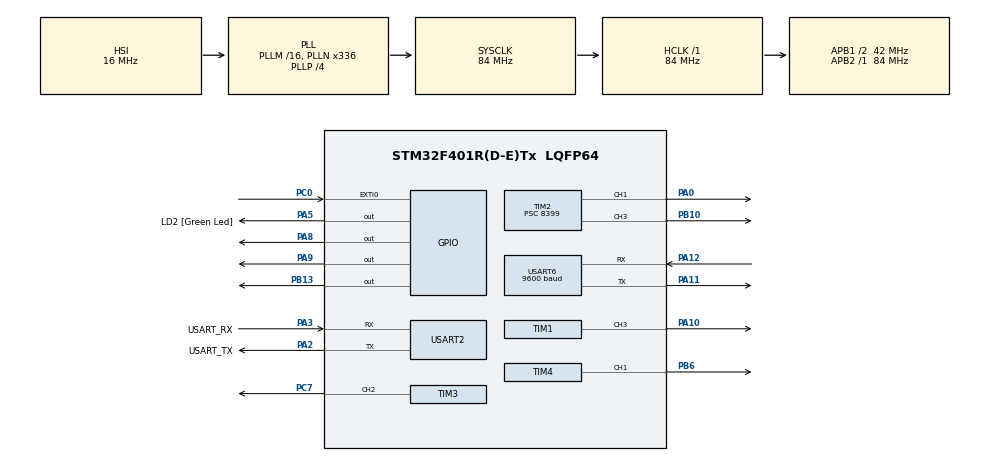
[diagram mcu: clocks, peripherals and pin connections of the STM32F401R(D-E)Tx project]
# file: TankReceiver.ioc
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Mcu.Family=STM32F4
Mcu.Name=STM32F401R(D-E)Tx
Mcu.Package=LQFP64
NVIC.EXTI0_IRQn=true\:0\:0\:false\:false\:true\:true\:true\:true
NVIC.PriorityGroup=NVIC_PRIORITYGROUP_0
NVIC.USART6_IRQn=true\:0\:0\:false\:false\:true\:true\:true\:true
PA0-WKUP.Signal=S_TIM2_CH1_ETR
PA10.Signal=S_TIM1_CH3
PA11.Mode=Asynchronous
PA11.Signal=USART6_TX
PA12.Mode=Asynchronous
PA12.Signal=USART6_RX
PA13.GPIO_Label=TMS
PA13.Mode=Serial_Wire
PA13.Signal=SYS_JTMS-SWDIO
PA14.GPIO_Label=TCK
PA14.Mode=Serial_Wire
PA14.Signal=SYS_JTCK-SWCLK
PA2.GPIO_Label=USART_TX
PA2.GPIO_Mode=GPIO_MODE_AF_PP
PA2.GPIO_PuPd=GPIO_NOPULL
PA2.GPIO_Speed=GPIO_SPEED_FREQ_LOW
PA2.Mode=Asynchronous
PA2.Signal=USART2_TX
PA3.GPIO_Label=USART_RX
PA3.GPIO_Mode=GPIO_MODE_AF_PP
PA3.GPIO_PuPd=GPIO_NOPULL
PA3.GPIO_Speed=GPIO_SPEED_FREQ_LOW
PA3.Mode=Asynchronous
PA3.Signal=USART2_RX
PA5.GPIO_Label=LD2 [Green Led]
PA5.GPIO_Mode=GPIO_MODE_OUTPUT_PP
PA5.GPIO_PuPd=GPIO_NOPULL
PA5.GPIO_Speed=GPIO_SPEED_FREQ_LOW
PA5.Signal=GPIO_Output
PA8.Signal=GPIO_Output
PA9.Signal=GPIO_Output
PB10.Signal=S_TIM2_CH3
PB13.Signal=GPIO_Output
PB6.Signal=S_TIM4_CH1
PC0.GPIO_ModeDefaultEXTI=GPIO_MODE_IT_FALLING
PC0.Signal=GPXTI0
PC14-OSC32_IN.Mode=LSE-External-Oscillator
PC14-OSC32_IN.Signal=RCC_OSC32_IN
PC15-OSC32_OUT.Mode=LSE-External-Oscillator
PC15-OSC32_OUT.Signal=RCC_OSC32_OUT
PC7.Signal=S_TIM3_CH2
PH0\ -\ OSC_IN.Mode=HSE-External-Clock-Source
PH0\ -\ OSC_IN.Signal=RCC_OSC_IN
PH1\ -\ OSC_OUT.Mode=HSE-External-Clock-Source
PH1\ -\ OSC_OUT.Signal=RCC_OSC_OUT
ProjectManager.HeapSize=0x200
ProjectManager.StackSize=0x400
ProjectManager.TargetToolchain=STM32CubeIDE
RCC.48MHZClocksFreq_Value=48000000
RCC.AHBFreq_Value=84000000
RCC.APB1CLKDivider=RCC_HCLK_DIV2
RCC.APB1Freq_Value=42000000
RCC.APB1TimFreq_Value=84000000
RCC.APB2Freq_Value=84000000
RCC.APB2TimFreq_Value=84000000
RCC.CortexFreq_Value=84000000
RCC.HCLKFreq_Value=84000000
RCC.HSE_VALUE=8000000
RCC.HSI_VALUE=16000000
RCC.PLLN=336
RCC.PLLP=RCC_PLLP_DIV4
RCC.PLLQ=7
RCC.SYSCLKFreq_VALUE=84000000
RCC.SYSCLKSource=RCC_SYSCLKSOURCE_PLLCLK
RCC.VCOOutputFreq_Value=336000000
SH.S_TIM1_CH3.0=TIM1_CH3,PWM Generation3 CH3
SH.S_TIM2_CH1_ETR.0=TIM2_CH1,PWM Generation1 CH1
SH.S_TIM2_CH3.0=TIM2_CH3,PWM Generation3 CH3
SH.S_TIM3_CH2.0=TIM3_CH2,PWM Generation2 CH2
SH.S_TIM4_CH1.0=TIM4_CH1,PWM Generation1 CH1
TIM1.Channel-PWM\ Generation3\ CH3=TIM_CHANNEL_3
TIM1.Period=25
TIM1.Prescaler=83
TIM1.Pulse-PWM\ Generation3\ CH3=13
TIM2.Channel-PWM\ Generation1\ CH1=TIM_CHANNEL_1
TIM2.Channel-PWM\ Generation3\ CH3=TIM_CHANNEL_3
TIM2.Period=199
TIM2.Prescaler=8399
TIM2.Pulse-PWM\ Generation1\ CH1=1000
TIM2.Pulse-PWM\ Generation3\ CH3=100
TIM3.Channel-PWM\ Generation2\ CH2=TIM_CHANNEL_2
TIM3.Period=49
TIM3.Prescaler=83
TIM4.Channel-PWM\ Generation1\ CH1=TIM_CHANNEL_1
TIM4.Period=49
TIM4.Prescaler=83
TIM5.Prescaler=8399
TIM9.Prescaler=8499
USART2.VirtualMode=VM_ASYNC
USART6.BaudRate=9600
USART6.VirtualMode=VM_ASYNC
VP_TIM10_VS_ClockSourceINT.Mode=Enable_Timer
VP_TIM1_VS_ClockSourceINT.Mode=Internal
VP_TIM2_VS_ClockSourceINT.Mode=Internal
VP_TIM3_VS_ClockSourceINT.Mode=Internal
VP_TIM4_VS_ClockSourceINT.Mode=Internal
VP_TIM5_VS_ClockSourceINT.Mode=Internal
VP_TIM9_VS_ClockSourceINT.Mode=Internal
board=NUCLEO-F401RE

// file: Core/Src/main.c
/* USER CODE BEGIN Header */
/**
  ******************************************************************************
  * @file           : main.c
  * @brief          : Main program body
  ******************************************************************************
  * @attention
  *
  * Copyright (c) 2023 STMicroelectronics.
  * All rights reserved.
  *
  * This software is licensed under terms that can be found in the LICENSE file
  * in the root directory of this software component.
  * If no LICENSE file comes with this software, it is provided AS-IS.
  *
  ******************************************************************************
  */
/* USER CODE END Header */
#include "main.h"

/* USER CODE BEGIN Includes */
#include <math.h>
/* USER CODE END Includes */

TIM_HandleTypeDef htim1;
TIM_HandleTypeDef htim2;
TIM_HandleTypeDef htim3;
TIM_HandleTypeDef htim4;
TIM_HandleTypeDef htim5;
TIM_HandleTypeDef htim9;
TIM_HandleTypeDef htim10;

UART_HandleTypeDef huart2;
UART_HandleTypeDef huart6;

void SystemClock_Config(void);
static void MX_GPIO_Init(void);
static void MX_USART2_UART_Init(void);
static void MX_TIM3_Init(void);
static void MX_TIM4_Init(void);
static void MX_USART6_UART_Init(void);
static void MX_TIM5_Init(void);
static void MX_TIM2_Init(void);
static void MX_TIM1_Init(void);
static void MX_TIM9_Init(void);
static void MX_TIM10_Init(void);

/* USER CODE BEGIN 0 */

const int TANK_ID = 1; //MAKE SURE TO UPDATE FOR EVERY TANK
//int tx_data = TANK_ID;
int blast = 0;
int disabled = 0;

const int MAX_CCR = 17;
const int TIMEOUT_POLL_MILLIS = 20000;
const int BUZZER_DURATION = 5000;
static uint8_t tx_buf[] = {TANK_ID};
static uint8_t rx_data[4];

const int min_servo_pwm = 5;
const int max_servo_pwm = 25;
const int servo_speed = 1;
int curr_servo_pwm = (max_servo_pwm + min_servo_pwm) / 2;

//returns a float from  -1.0 to 1.0
float normalize(int num) {
	return (num - (float)(255 / 2.0)) / (float)(255 / 2.0);
}

//TIM 4, CHNL 1 controls left motor speed
//TIM 3, CHNL 2 controls right motor speed
//PIN A9 controls left motor direction
//PIN A8 controls right motor direction
void arcade_drive(int raw_x, int raw_y) {
	float drive = normalize(raw_y) * -1;
	float rotate = normalize(raw_x);

	float maximum = fmax(fabs(drive), fabs(rotate));
	float total = drive + rotate;
	float diff = drive - rotate;

	int leftCCR = 0, rightCCR = 0, leftDir = 0, rightDir = 0;
	if (drive >= 0) {
		if (rotate >= 0) { //1st quad
			leftCCR = maximum * MAX_CCR;
			rightCCR = diff * MAX_CCR;
		} else { //2nd quad
			leftCCR = total * MAX_CCR;
			rightCCR = maximum * MAX_CCR;
		}

	} else {
		if (rotate >= 0) { //3rd quad
			leftCCR = total * MAX_CCR;
			rightCCR = maximum * -1 * MAX_CCR;
		} else { //4th quad
			leftCCR = maximum * -1 * MAX_CCR;
			rightCCR = diff * MAX_CCR;
		}

	}

	if (leftCCR < 0) {
		leftCCR *= -1;
		leftDir = 1;
	}

	if (rightCCR < 0) {
		rightCCR *= -1;
		rightDir = 1;
	}

	TIM4->CCR1 = leftCCR;
	TIM3->CCR2 = rightCCR;
	HAL_GPIO_WritePin(GPIOA, GPIO_PIN_9, leftDir);
	HAL_GPIO_WritePin(GPIOA, GPIO_PIN_8, rightDir);
}

void servo(uint8_t cmd) {
	//Byte 7 is L2, byte 6 is r2
	if (!(cmd & 8)) {
		curr_servo_pwm -= servo_speed;
	}

	if (!(cmd & 4)) {
		curr_servo_pwm += servo_speed;
	}

	if (curr_servo_pwm < min_servo_pwm) {
		curr_servo_pwm = min_servo_pwm;
	}
	else if (curr_servo_pwm > max_servo_pwm) {
		curr_servo_pwm = max_servo_pwm;
	}

	TIM2->CCR1 = curr_servo_pwm;
}

void shoot(uint8_t cmd) {
	//Bit 1 is the right trigger
	int wants_to_blast = !((cmd >> 1) & 1);

	if (wants_to_blast && !disabled) {
		blast = 1;
	}
}

void HAL_UART_RxCpltCallback(UART_HandleTypeDef *huart) {
	if (rx_data[0] == TANK_ID) {
		servo(rx_data[1]);
		shoot(rx_data[1]);
		arcade_drive(rx_data[2], rx_data[3]);
		HAL_UART_Receive_IT(&huart6, rx_data, 4);
		HAL_UART_Transmit(&huart6, tx_buf, 1, 10);
		TIM5->CNT = 0;
	} else {
		HAL_UART_Receive_IT(&huart6, rx_data, 4);
	}

}

/* USER CODE END 0 */

int main(void)
{

  /* MCU Configuration--------------------------------------------------------*/

  /* Reset of all peripherals, Initializes the Flash interface and the Systick. */
  HAL_Init();

  /* Configure the system clock */
  SystemClock_Config();

  /* Initialize all configured peripherals */
  MX_GPIO_Init();
  MX_USART2_UART_Init();
  MX_TIM3_Init();
  MX_TIM4_Init();
  MX_USART6_UART_Init();
  MX_TIM5_Init();
  MX_TIM2_Init();
  MX_TIM1_Init();
  MX_TIM9_Init();
  MX_TIM10_Init();
  /* USER CODE BEGIN 2 */
  TIM1->CCR3 = 0;
  TIM2->CCR1 = curr_servo_pwm;
  TIM2->CCR3 = 0;
  HAL_TIM_PWM_Start(&htim1, TIM_CHANNEL_3); //IR
  HAL_TIM_PWM_Start(&htim2, TIM_CHANNEL_1); //Servo
  HAL_TIM_PWM_Start(&htim2, TIM_CHANNEL_3); //Buzzer
  HAL_TIM_PWM_Start(&htim3, TIM_CHANNEL_2); //Right motor
  HAL_TIM_PWM_Start(&htim4, TIM_CHANNEL_1); //Left motor

  //tx_buf[0] = tx_data;

  HAL_UART_Receive_IT(&huart6, rx_data, 4);
  HAL_UART_Transmit(&huart6, tx_buf, 1, 10);
  HAL_TIM_Base_Start(&htim5);

  HAL_GPIO_WritePin(GPIOB, GPIO_PIN_13, 1);

  /* USER CODE END 2 */

  /* Infinite loop */
  /* USER CODE BEGIN WHILE */
  while (1)
  {
	//tx_buf[0] = tx_data;
	if (TIM5->CNT >= TIMEOUT_POLL_MILLIS)
	{
		HAL_UART_Transmit(&huart6, tx_buf, 1, 10);
		//tx_data &= ~(0b10000);
		TIM5->CNT = 0;
	}

	if (blast) {
		TIM2->CCR3 = 10;
		TIM1->CCR3 = 13;
		HAL_Delay(100);
		TIM2->CCR3 = 0;
		TIM1->CCR3 = 0;
		HAL_Delay(1000);
		blast = 0;
	}

	if (disabled) {
		HAL_GPIO_TogglePin(GPIOB, GPIO_PIN_13);
		HAL_Delay(1000);
		HAL_GPIO_TogglePin(GPIOB, GPIO_PIN_13);
		HAL_Delay(1000);
		HAL_GPIO_TogglePin(GPIOB, GPIO_PIN_13);
		HAL_Delay(1000);
		HAL_GPIO_TogglePin(GPIOB, GPIO_PIN_13);
		HAL_Delay(500);
		HAL_GPIO_TogglePin(GPIOB, GPIO_PIN_13);
		HAL_Delay(500);
		HAL_GPIO_TogglePin(GPIOB, GPIO_PIN_13);
		HAL_Delay(250);
		HAL_GPIO_TogglePin(GPIOB, GPIO_PIN_13);
		HAL_Delay(250);
		HAL_GPIO_TogglePin(GPIOB, GPIO_PIN_13);
		HAL_Delay(250);
		HAL_GPIO_TogglePin(GPIOB, GPIO_PIN_13);
		HAL_Delay(250);
		HAL_GPIO_TogglePin(GPIOB, GPIO_PIN_13);
		disabled = 0;
	}

    /* USER CODE END WHILE */

  }
}

void SystemClock_Config(void)
{
  RCC_OscInitTypeDef RCC_OscInitStruct = {0};
  RCC_ClkInitTypeDef RCC_ClkInitStruct = {0};

  /** Configure the main internal regulator output voltage
  */
  __HAL_RCC_PWR_CLK_ENABLE();
  __HAL_PWR_VOLTAGESCALING_CONFIG(PWR_REGULATOR_VOLTAGE_SCALE2);

  /** Initializes the RCC Oscillators according to the specified parameters
  * in the RCC_OscInitTypeDef structure.
  */
  RCC_OscInitStruct.OscillatorType = RCC_OSCILLATORTYPE_HSI;
  RCC_OscInitStruct.HSIState = RCC_HSI_ON;
  RCC_OscInitStruct.HSICalibrationValue = RCC_HSICALIBRATION_DEFAULT;
  RCC_OscInitStruct.PLL.PLLState = RCC_PLL_ON;
  RCC_OscInitStruct.PLL.PLLSource = RCC_PLLSOURCE_HSI;
  RCC_OscInitStruct.PLL.PLLM = 16;
  RCC_OscInitStruct.PLL.PLLN = 336;
  RCC_OscInitStruct.PLL.PLLP = RCC_PLLP_DIV4;
  RCC_OscInitStruct.PLL.PLLQ = 7;
  if (HAL_RCC_OscConfig(&RCC_OscInitStruct) != HAL_OK)
  {
    Error_Handler();
  }

  /** Initializes the CPU, AHB and APB buses clocks
  */
  RCC_ClkInitStruct.ClockType = RCC_CLOCKTYPE_HCLK|RCC_CLOCKTYPE_SYSCLK
                              |RCC_CLOCKTYPE_PCLK1|RCC_CLOCKTYPE_PCLK2;
  RCC_ClkInitStruct.SYSCLKSource = RCC_SYSCLKSOURCE_PLLCLK;
  RCC_ClkInitStruct.AHBCLKDivider = RCC_SYSCLK_DIV1;
  RCC_ClkInitStruct.APB1CLKDivider = RCC_HCLK_DIV2;
  RCC_ClkInitStruct.APB2CLKDivider = RCC_HCLK_DIV1;

  if (HAL_RCC_ClockConfig(&RCC_ClkInitStruct, FLASH_LATENCY_2) != HAL_OK)
  {
    Error_Handler();
  }
}

static void MX_TIM1_Init(void)
{

  TIM_ClockConfigTypeDef sClockSourceConfig = {0};
  TIM_MasterConfigTypeDef sMasterConfig = {0};
  TIM_OC_InitTypeDef sConfigOC = {0};
  TIM_BreakDeadTimeConfigTypeDef sBreakDeadTimeConfig = {0};

  htim1.Instance = TIM1;
  htim1.Init.Prescaler = 83;
  htim1.Init.CounterMode = TIM_COUNTERMODE_UP;
  htim1.Init.Period = 25;
  htim1.Init.ClockDivision = TIM_CLOCKDIVISION_DIV1;
  htim1.Init.RepetitionCounter = 0;
  htim1.Init.AutoReloadPreload = TIM_AUTORELOAD_PRELOAD_DISABLE;
  if (HAL_TIM_Base_Init(&htim1) != HAL_OK)
  {
    Error_Handler();
  }
  sClockSourceConfig.ClockSource = TIM_CLOCKSOURCE_INTERNAL;
  if (HAL_TIM_ConfigClockSource(&htim1, &sClockSourceConfig) != HAL_OK)
  {
    Error_Handler();
  }
  if (HAL_TIM_PWM_Init(&htim1) != HAL_OK)
  {
    Error_Handler();
  }
  sMasterConfig.MasterOutputTrigger = TIM_TRGO_RESET;
  sMasterConfig.MasterSlaveMode = TIM_MASTERSLAVEMODE_DISABLE;
  if (HAL_TIMEx_MasterConfigSynchronization(&htim1, &sMasterConfig) != HAL_OK)
  {
    Error_Handler();
  }
  sConfigOC.OCMode = TIM_OCMODE_PWM1;
  sConfigOC.Pulse = 13;
  sConfigOC.OCPolarity = TIM_OCPOLARITY_HIGH;
  sConfigOC.OCNPolarity = TIM_OCNPOLARITY_HIGH;
  sConfigOC.OCFastMode = TIM_OCFAST_DISABLE;
  sConfigOC.OCIdleState = TIM_OCIDLESTATE_RESET;
  sConfigOC.OCNIdleState = TIM_OCNIDLESTATE_RESET;
  if (HAL_TIM_PWM_ConfigChannel(&htim1, &sConfigOC, TIM_CHANNEL_3) != HAL_OK)
  {
    Error_Handler();
  }
  sBreakDeadTimeConfig.OffStateRunMode = TIM_OSSR_DISABLE;
  sBreakDeadTimeConfig.OffStateIDLEMode = TIM_OSSI_DISABLE;
  sBreakDeadTimeConfig.LockLevel = TIM_LOCKLEVEL_OFF;
  sBreakDeadTimeConfig.DeadTime = 0;
  sBreakDeadTimeConfig.BreakState = TIM_BREAK_DISABLE;
  sBreakDeadTimeConfig.BreakPolarity = TIM_BREAKPOLARITY_HIGH;
  sBreakDeadTimeConfig.AutomaticOutput = TIM_AUTOMATICOUTPUT_DISABLE;
  if (HAL_TIMEx_ConfigBreakDeadTime(&htim1, &sBreakDeadTimeConfig) != HAL_OK)
  {
    Error_Handler();
  }
  HAL_TIM_MspPostInit(&htim1);

}

static void MX_TIM2_Init(void)
{

  TIM_ClockConfigTypeDef sClockSourceConfig = {0};
  TIM_MasterConfigTypeDef sMasterConfig = {0};
  TIM_OC_InitTypeDef sConfigOC = {0};

  htim2.Instance = TIM2;
  htim2.Init.Prescaler = 8399;
  htim2.Init.CounterMode = TIM_COUNTERMODE_UP;
  htim2.Init.Period = 199;
  htim2.Init.ClockDivision = TIM_CLOCKDIVISION_DIV1;
  htim2.Init.AutoReloadPreload = TIM_AUTORELOAD_PRELOAD_DISABLE;
  if (HAL_TIM_Base_Init(&htim2) != HAL_OK)
  {
    Error_Handler();
  }
  sClockSourceConfig.ClockSource = TIM_CLOCKSOURCE_INTERNAL;
  if (HAL_TIM_ConfigClockSource(&htim2, &sClockSourceConfig) != HAL_OK)
  {
    Error_Handler();
  }
  if (HAL_TIM_PWM_Init(&htim2) != HAL_OK)
  {
    Error_Handler();
  }
  sMasterConfig.MasterOutputTrigger = TIM_TRGO_RESET;
  sMasterConfig.MasterSlaveMode = TIM_MASTERSLAVEMODE_DISABLE;
  if (HAL_TIMEx_MasterConfigSynchronization(&htim2, &sMasterConfig) != HAL_OK)
  {
    Error_Handler();
  }
  sConfigOC.OCMode = TIM_OCMODE_PWM1;
  sConfigOC.Pulse = 1000;
  sConfigOC.OCPolarity = TIM_OCPOLARITY_HIGH;
  sConfigOC.OCFastMode = TIM_OCFAST_DISABLE;
  if (HAL_TIM_PWM_ConfigChannel(&htim2, &sConfigOC, TIM_CHANNEL_1) != HAL_OK)
  {
    Error_Handler();
  }
  sConfigOC.Pulse = 100;
  if (HAL_TIM_PWM_ConfigChannel(&htim2, &sConfigOC, TIM_CHANNEL_3) != HAL_OK)
  {
    Error_Handler();
  }
  HAL_TIM_MspPostInit(&htim2);

}

static void MX_TIM3_Init(void)
{

  TIM_ClockConfigTypeDef sClockSourceConfig = {0};
  TIM_MasterConfigTypeDef sMasterConfig = {0};
  TIM_OC_InitTypeDef sConfigOC = {0};

  htim3.Instance = TIM3;
  htim3.Init.Prescaler = 83;
  htim3.Init.CounterMode = TIM_COUNTERMODE_UP;
  htim3.Init.Period = 49;
  htim3.Init.ClockDivision = TIM_CLOCKDIVISION_DIV1;
  htim3.Init.AutoReloadPreload = TIM_AUTORELOAD_PRELOAD_DISABLE;
  if (HAL_TIM_Base_Init(&htim3) != HAL_OK)
  {
    Error_Handler();
  }
  sClockSourceConfig.ClockSource = TIM_CLOCKSOURCE_INTERNAL;
  if (HAL_TIM_ConfigClockSource(&htim3, &sClockSourceConfig) != HAL_OK)
  {
    Error_Handler();
  }
  if (HAL_TIM_PWM_Init(&htim3) != HAL_OK)
  {
    Error_Handler();
  }
  sMasterConfig.MasterOutputTrigger = TIM_TRGO_RESET;
  sMasterConfig.MasterSlaveMode = TIM_MASTERSLAVEMODE_DISABLE;
  if (HAL_TIMEx_MasterConfigSynchronization(&htim3, &sMasterConfig) != HAL_OK)
  {
    Error_Handler();
  }
  sConfigOC.OCMode = TIM_OCMODE_PWM1;
  sConfigOC.Pulse = 0;
  sConfigOC.OCPolarity = TIM_OCPOLARITY_HIGH;
  sConfigOC.OCFastMode = TIM_OCFAST_DISABLE;
  if (HAL_TIM_PWM_ConfigChannel(&htim3, &sConfigOC, TIM_CHANNEL_2) != HAL_OK)
  {
    Error_Handler();
  }
  HAL_TIM_MspPostInit(&htim3);

}

static void MX_TIM4_Init(void)
{

  TIM_ClockConfigTypeDef sClockSourceConfig = {0};
  TIM_MasterConfigTypeDef sMasterConfig = {0};
  TIM_OC_InitTypeDef sConfigOC = {0};

  htim4.Instance = TIM4;
  htim4.Init.Prescaler = 83;
  htim4.Init.CounterMode = TIM_COUNTERMODE_UP;
  htim4.Init.Period = 49;
  htim4.Init.ClockDivision = TIM_CLOCKDIVISION_DIV1;
  htim4.Init.AutoReloadPreload = TIM_AUTORELOAD_PRELOAD_DISABLE;
  if (HAL_TIM_Base_Init(&htim4) != HAL_OK)
  {
    Error_Handler();
  }
  sClockSourceConfig.ClockSource = TIM_CLOCKSOURCE_INTERNAL;
  if (HAL_TIM_ConfigClockSource(&htim4, &sClockSourceConfig) != HAL_OK)
  {
    Error_Handler();
  }
  if (HAL_TIM_PWM_Init(&htim4) != HAL_OK)
  {
    Error_Handler();
  }
  sMasterConfig.MasterOutputTrigger = TIM_TRGO_RESET;
  sMasterConfig.MasterSlaveMode = TIM_MASTERSLAVEMODE_DISABLE;
  if (HAL_TIMEx_MasterConfigSynchronization(&htim4, &sMasterConfig) != HAL_OK)
  {
    Error_Handler();
  }
  sConfigOC.OCMode = TIM_OCMODE_PWM1;
  sConfigOC.Pulse = 0;
  sConfigOC.OCPolarity = TIM_OCPOLARITY_HIGH;
  sConfigOC.OCFastMode = TIM_OCFAST_DISABLE;
  if (HAL_TIM_PWM_ConfigChannel(&htim4, &sConfigOC, TIM_CHANNEL_1) != HAL_OK)
  {
    Error_Handler();
  }
  HAL_TIM_MspPostInit(&htim4);

}

static void MX_TIM5_Init(void)
{

  TIM_ClockConfigTypeDef sClockSourceConfig = {0};
  TIM_MasterConfigTypeDef sMasterConfig = {0};

  htim5.Instance = TIM5;
  htim5.Init.Prescaler = 8399;
  htim5.Init.CounterMode = TIM_COUNTERMODE_UP;
  htim5.Init.Period = 4294967295;
  htim5.Init.ClockDivision = TIM_CLOCKDIVISION_DIV1;
  htim5.Init.AutoReloadPreload = TIM_AUTORELOAD_PRELOAD_DISABLE;
  if (HAL_TIM_Base_Init(&htim5) != HAL_OK)
  {
    Error_Handler();
  }
  sClockSourceConfig.ClockSource = TIM_CLOCKSOURCE_INTERNAL;
  if (HAL_TIM_ConfigClockSource(&htim5, &sClockSourceConfig) != HAL_OK)
  {
    Error_Handler();
  }
  sMasterConfig.MasterOutputTrigger = TIM_TRGO_RESET;
  sMasterConfig.MasterSlaveMode = TIM_MASTERSLAVEMODE_DISABLE;
  if (HAL_TIMEx_MasterConfigSynchronization(&htim5, &sMasterConfig) != HAL_OK)
  {
    Error_Handler();
  }

}

static void MX_TIM9_Init(void)
{

  TIM_ClockConfigTypeDef sClockSourceConfig = {0};

  htim9.Instance = TIM9;
  htim9.Init.Prescaler = 8499;
  htim9.Init.CounterMode = TIM_COUNTERMODE_UP;
  htim9.Init.Period = 65535;
  htim9.Init.ClockDivision = TIM_CLOCKDIVISION_DIV1;
  htim9.Init.AutoReloadPreload = TIM_AUTORELOAD_PRELOAD_DISABLE;
  if (HAL_TIM_Base_Init(&htim9) != HAL_OK)
  {
    Error_Handler();
  }
  sClockSourceConfig.ClockSource = TIM_CLOCKSOURCE_INTERNAL;
  if (HAL_TIM_ConfigClockSource(&htim9, &sClockSourceConfig) != HAL_OK)
  {
    Error_Handler();
  }

}

static void MX_TIM10_Init(void)
{

  htim10.Instance = TIM10;
  htim10.Init.Prescaler = 0;
  htim10.Init.CounterMode = TIM_COUNTERMODE_UP;
  htim10.Init.Period = 65535;
  htim10.Init.ClockDivision = TIM_CLOCKDIVISION_DIV1;
  htim10.Init.AutoReloadPreload = TIM_AUTORELOAD_PRELOAD_DISABLE;
  if (HAL_TIM_Base_Init(&htim10) != HAL_OK)
  {
    Error_Handler();
  }

}

static void MX_USART2_UART_Init(void)
{

  huart2.Instance = USART2;
  huart2.Init.BaudRate = 115200;
  huart2.Init.WordLength = UART_WORDLENGTH_8B;
  huart2.Init.StopBits = UART_STOPBITS_1;
  huart2.Init.Parity = UART_PARITY_NONE;
  huart2.Init.Mode = UART_MODE_TX_RX;
  huart2.Init.HwFlowCtl = UART_HWCONTROL_NONE;
  huart2.Init.OverSampling = UART_OVERSAMPLING_16;
  if (HAL_UART_Init(&huart2) != HAL_OK)
  {
    Error_Handler();
  }

}

static void MX_USART6_UART_Init(void)
{

  huart6.Instance = USART6;
  huart6.Init.BaudRate = 9600;
  huart6.Init.WordLength = UART_WORDLENGTH_8B;
  huart6.Init.StopBits = UART_STOPBITS_1;
  huart6.Init.Parity = UART_PARITY_NONE;
  huart6.Init.Mode = UART_MODE_TX_RX;
  huart6.Init.HwFlowCtl = UART_HWCONTROL_NONE;
  huart6.Init.OverSampling = UART_OVERSAMPLING_16;
  if (HAL_UART_Init(&huart6) != HAL_OK)
  {
    Error_Handler();
  }

}

static void MX_GPIO_Init(void)
{
  GPIO_InitTypeDef GPIO_InitStruct = {0};

  /* GPIO Ports Clock Enable */
  __HAL_RCC_GPIOC_CLK_ENABLE();
  __HAL_RCC_GPIOH_CLK_ENABLE();
  __HAL_RCC_GPIOA_CLK_ENABLE();
  __HAL_RCC_GPIOB_CLK_ENABLE();

  /*Configure GPIO pin Output Level */
  HAL_GPIO_WritePin(GPIOA, LD2_Pin|GPIO_PIN_8|GPIO_PIN_9, GPIO_PIN_RESET);

  /*Configure GPIO pin Output Level */
  HAL_GPIO_WritePin(GPIOB, GPIO_PIN_13, GPIO_PIN_RESET);

  /*Configure GPIO pin : PC0 */
  GPIO_InitStruct.Pin = GPIO_PIN_0;
  GPIO_InitStruct.Mode = GPIO_MODE_IT_FALLING;
  GPIO_InitStruct.Pull = GPIO_NOPULL;
  HAL_GPIO_Init(GPIOC, &GPIO_InitStruct);

  /*Configure GPIO pins : LD2_Pin PA8 PA9 */
  GPIO_InitStruct.Pin = LD2_Pin|GPIO_PIN_8|GPIO_PIN_9;
  GPIO_InitStruct.Mode = GPIO_MODE_OUTPUT_PP;
  GPIO_InitStruct.Pull = GPIO_NOPULL;
  GPIO_InitStruct.Speed = GPIO_SPEED_FREQ_LOW;
  HAL_GPIO_Init(GPIOA, &GPIO_InitStruct);

  /*Configure GPIO pin : PB13 */
  GPIO_InitStruct.Pin = GPIO_PIN_13;
  GPIO_InitStruct.Mode = GPIO_MODE_OUTPUT_PP;
  GPIO_InitStruct.Pull = GPIO_NOPULL;
  GPIO_InitStruct.Speed = GPIO_SPEED_FREQ_LOW;
  HAL_GPIO_Init(GPIOB, &GPIO_InitStruct);

  /* EXTI interrupt init*/
  HAL_NVIC_SetPriority(EXTI0_IRQn, 0, 0);
  HAL_NVIC_EnableIRQ(EXTI0_IRQn);

}

void Error_Handler(void)
{
  __disable_irq();
  while (1)
  {
  }
}
